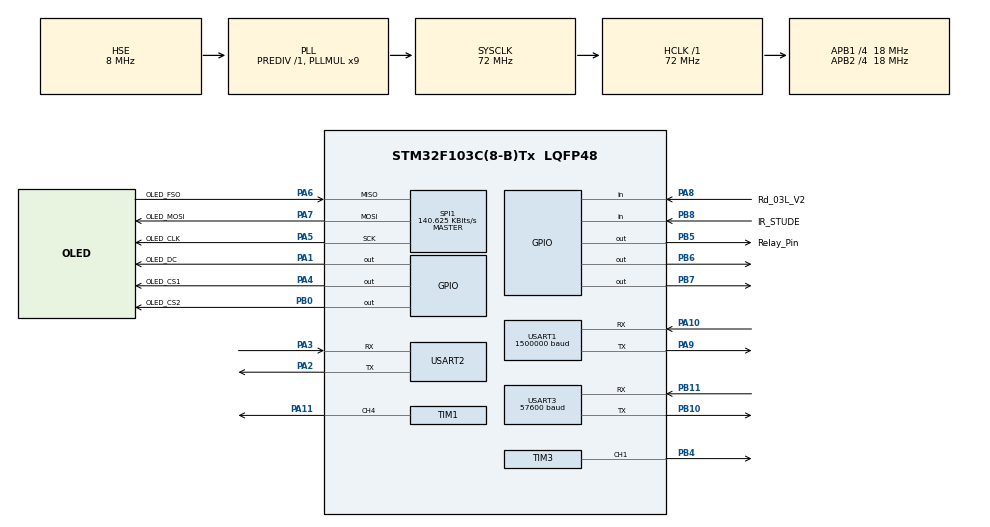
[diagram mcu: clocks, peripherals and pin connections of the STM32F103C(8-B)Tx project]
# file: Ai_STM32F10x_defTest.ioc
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Dma.Request0=TIM3_CH1/TRIG
Dma.Request1=TIM1_CH4/TRIG/COM
Dma.TIM1_CH4/TRIG/COM.1.Direction=DMA_MEMORY_TO_PERIPH
Dma.TIM1_CH4/TRIG/COM.1.Instance=DMA1_Channel4
Dma.TIM1_CH4/TRIG/COM.1.MemDataAlignment=DMA_MDATAALIGN_HALFWORD
Dma.TIM1_CH4/TRIG/COM.1.MemInc=DMA_MINC_ENABLE
Dma.TIM1_CH4/TRIG/COM.1.Mode=DMA_NORMAL
Dma.TIM1_CH4/TRIG/COM.1.PeriphDataAlignment=DMA_PDATAALIGN_HALFWORD
Dma.TIM1_CH4/TRIG/COM.1.PeriphInc=DMA_PINC_DISABLE
Dma.TIM1_CH4/TRIG/COM.1.Priority=DMA_PRIORITY_LOW
Dma.TIM3_CH1/TRIG.0.Direction=DMA_MEMORY_TO_PERIPH
Dma.TIM3_CH1/TRIG.0.Instance=DMA1_Channel6
Dma.TIM3_CH1/TRIG.0.MemDataAlignment=DMA_MDATAALIGN_HALFWORD
Dma.TIM3_CH1/TRIG.0.MemInc=DMA_MINC_ENABLE
Dma.TIM3_CH1/TRIG.0.Mode=DMA_NORMAL
Dma.TIM3_CH1/TRIG.0.PeriphDataAlignment=DMA_PDATAALIGN_HALFWORD
Dma.TIM3_CH1/TRIG.0.PeriphInc=DMA_PINC_DISABLE
Dma.TIM3_CH1/TRIG.0.Priority=DMA_PRIORITY_LOW
FREERTOS.Tasks01=defaultTask,24,256,StartDefaultTask,Default,NULL,Dynamic,NULL,NULL
FREERTOS.configENABLE_FPU=1
FREERTOS.configMAX_CO_ROUTINE_PRIORITIES=4
FREERTOS.configMINIMAL_STACK_SIZE=256
FREERTOS.configTIMER_TASK_PRIORITY=4
FREERTOS.configTOTAL_HEAP_SIZE=4096
FREERTOS.configUSE_CO_ROUTINES=1
Mcu.Family=STM32F1
Mcu.Name=STM32F103C(8-B)Tx
Mcu.Package=LQFP48
NVIC.DMA1_Channel4_IRQn=true\:5\:0\:false\:false\:true\:true\:false\:true\:true
NVIC.DMA1_Channel6_IRQn=true\:5\:0\:false\:false\:true\:true\:false\:true\:true
NVIC.PriorityGroup=NVIC_PRIORITYGROUP_4
NVIC.TIM2_IRQn=true\:15\:0\:false\:false\:true\:false\:false\:true\:true
NVIC.TimeBase=TIM2_IRQn
NVIC.TimeBaseIP=TIM2
NVIC.USART2_IRQn=true\:5\:0\:false\:false\:true\:true\:true\:true\:true
PA1.GPIO_Label=OLED_DC
PA1.GPIO_Speed=GPIO_SPEED_FREQ_MEDIUM
PA1.Signal=GPIO_Output
PA10.Mode=Asynchronous
PA10.Signal=USART1_RX
PA11.GPIO_ModeDefaultPP=GPIO_MODE_AF_OD
PA11.GPIO_Speed=GPIO_SPEED_FREQ_HIGH
PA11.Signal=S_TIM1_CH4
PA13.Mode=Serial_Wire
PA13.Signal=SYS_JTMS-SWDIO
PA14.Mode=Serial_Wire
PA14.Signal=SYS_JTCK-SWCLK
PA2.Mode=Asynchronous
PA2.Signal=USART2_TX
PA3.Mode=Asynchronous
PA3.Signal=USART2_RX
PA4.GPIO_Label=OLED_CS1
PA4.GPIO_ModeDefaultOutputPP=GPIO_MODE_OUTPUT_PP
PA4.GPIO_PuPd=GPIO_PULLUP
PA4.GPIO_Speed=GPIO_SPEED_FREQ_MEDIUM
PA4.PinState=GPIO_PIN_SET
PA4.Signal=GPIO_Output
PA5.GPIO_Label=OLED_CLK
PA5.Mode=Full_Duplex_Master
PA5.Signal=SPI1_SCK
PA6.GPIO_Label=OLED_FSO
PA6.Mode=Full_Duplex_Master
PA6.Signal=SPI1_MISO
PA7.GPIO_Label=OLED_MOSI
PA7.Mode=Full_Duplex_Master
PA7.Signal=SPI1_MOSI
PA8.GPIO_Label=Rd_03L_V2
PA8.GPIO_PuPd=GPIO_NOPULL
PA8.Signal=GPIO_Input
PA9.Mode=Asynchronous
PA9.Signal=USART1_TX
PB0.GPIO_Label=OLED_CS2
PB0.GPIO_PuPd=GPIO_PULLUP
PB0.GPIO_Speed=GPIO_SPEED_FREQ_MEDIUM
PB0.PinState=GPIO_PIN_SET
PB0.Signal=GPIO_Output
PB10.Mode=Asynchronous
PB10.Signal=USART3_TX
PB11.Mode=Asynchronous
PB11.Signal=USART3_RX
PB4.GPIO_ModeDefaultPP=GPIO_MODE_AF_OD
PB4.GPIO_Speed=GPIO_SPEED_FREQ_HIGH
PB4.Signal=S_TIM3_CH1
PB5.GPIO_Label=Relay_Pin
PB5.GPIO_ModeDefaultOutputPP=GPIO_MODE_OUTPUT_PP
PB5.GPIO_PuPd=GPIO_PULLUP
PB5.GPIO_Speed=GPIO_SPEED_FREQ_MEDIUM
PB5.PinState=GPIO_PIN_SET
PB5.Signal=GPIO_Output
PB6.GPIO_ModeDefaultOutputPP=GPIO_MODE_OUTPUT_PP
PB6.GPIO_Speed=GPIO_SPEED_FREQ_HIGH
PB6.PinState=GPIO_PIN_SET
PB6.Signal=GPIO_Output
PB7.GPIO_ModeDefaultOutputPP=GPIO_MODE_OUTPUT_PP
PB7.GPIO_Speed=GPIO_SPEED_FREQ_HIGH
PB7.PinState=GPIO_PIN_RESET
PB7.Signal=GPIO_Output
PB8.GPIO_Label=IR_STUDE
PB8.GPIO_PuPd=GPIO_PULLUP
PB8.Signal=GPIO_Input
PD0-OSC_IN.Mode=HSE-External-Oscillator
PD0-OSC_IN.Signal=RCC_OSC_IN
PD1-OSC_OUT.Mode=HSE-External-Oscillator
PD1-OSC_OUT.Signal=RCC_OSC_OUT
ProjectManager.HeapSize=0x200
ProjectManager.StackSize=0x400
ProjectManager.TargetToolchain=CMake
RCC.AHBFreq_Value=72000000
RCC.APB1CLKDivider=RCC_HCLK_DIV4
RCC.APB1Freq_Value=18000000
RCC.APB1TimFreq_Value=36000000
RCC.APB2CLKDivider=RCC_HCLK_DIV4
RCC.APB2Freq_Value=18000000
RCC.APB2TimFreq_Value=36000000
RCC.HCLKFreq_Value=72000000
RCC.PLLMUL=RCC_PLL_MUL9
RCC.PLLSourceVirtual=RCC_PLLSOURCE_HSE
RCC.SYSCLKFreq_VALUE=72000000
RCC.SYSCLKSource=RCC_SYSCLKSOURCE_PLLCLK
RCC.USBFreq_Value=48000000
RCC.USBPrescaler=RCC_USBCLKSOURCE_PLL_DIV1_5
SH.S_TIM1_CH4.0=TIM1_CH4,PWM Generation4 CH4
SH.S_TIM3_CH1.0=TIM3_CH1,PWM Generation1 CH1
SPI1.BaudRatePrescaler=SPI_BAUDRATEPRESCALER_128
SPI1.CalculateBaudRate=140.625 KBits/s
SPI1.Direction=SPI_DIRECTION_2LINES
SPI1.Mode=SPI_MODE_MASTER
SPI1.VirtualType=VM_MASTER
TIM1.Channel-PWM\ Generation4\ CH4=TIM_CHANNEL_4
TIM1.Period=90-1
TIM3.Channel-PWM\ Generation1\ CH1=TIM_CHANNEL_1
TIM3.Period=90-1
USART1.BaudRate=1500000
USART1.VirtualMode=VM_ASYNC
USART2.VirtualMode=VM_ASYNC
USART3.BaudRate=57600
USART3.VirtualMode=VM_ASYNC
VP_FREERTOS_VS_CMSIS_V2.Mode=CMSIS_V2
VP_SYS_VS_tim2.Mode=TIM2
board=custom

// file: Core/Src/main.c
/* USER CODE BEGIN Header */
/**
 ******************************************************************************
 * @file           : main.c
 * @brief          : Main program body
 ******************************************************************************
 * @attention
 *
 * Copyright (c) 2025 STMicroelectronics.
 * All rights reserved.
 *
 * This software is licensed under terms that can be found in the LICENSE file
 * in the root directory of this software component.
 * If no LICENSE file comes with this software, it is provided AS-IS.
 *
 ******************************************************************************
 */
/* USER CODE END Header */
#include "main.h"
#include "cmsis_os.h"
#include "dma.h"
#include "gpio.h"
#include "spi.h"
#include "tim.h"
#include "usart.h"

/* USER CODE BEGIN Includes */
#include "cJSON.h"
#include "emMCP.h"
#include "log.h"
#include "user_mcp.h"
#include "ws2812.h"
#include <stdint.h>

/* USER CODE END Includes */

/* USER CODE BEGIN PTD */
#define UART_RXBUFF_MAX 256

/* USER CODE END PTD */

void SystemClock_Config(void);
void MX_FREERTOS_Init(void);

int main(void) {

  /* MCU Configuration--------------------------------------------------------*/

  /* Reset of all peripherals, Initializes the Flash interface and the Systick.
   */
  HAL_Init();

  /* Configure the system clock */
  SystemClock_Config();

  /* Initialize all configured peripherals */
  MX_GPIO_Init();
  MX_DMA_Init();
  MX_USART1_UART_Init();
  MX_USART2_UART_Init();
  MX_SPI1_Init();
  MX_USART3_UART_Init();
  MX_TIM1_Init();
  MX_TIM3_Init();
  /* USER CODE BEGIN 2 */

  user_mcp_init(); //
  ws2812_init();
  ws2812_set_pixel(1, 255, 0, 0);
  ws2812_update();
  log_info("system init complete");
  OLED_Init();
  log_info("OLED init OK");
  OLED_ColorTurn(0);
  log_info("OLED color turn OK");
  OLED_DisplayTurn(0);
  log_info("OLED display turn OK");
  OLED_Clear();
  log_info("OLED clear OK");
  // OLED_Display_8x16(0, 0, "Hello,world!");
  OLED_Display_UTF8(0, 3, "你好，世界！");
  // OLED_WR_Byte(0X2E, OLED_CMD);
  // OLED_WR_Byte(0X2A, OLED_CMD);
  // OLED_WR_Byte(0X00, OLED_CMD);
  // OLED_WR_Byte(0X00, OLED_CMD);
  // OLED_WR_Byte(0X07, OLED_CMD);
  // OLED_WR_Byte(0X07, OLED_CMD);
  // OLED_WR_Byte(0X00, OLED_CMD);
  // OLED_WR_Byte(0X2F, OLED_CMD);

  /* USER CODE END 2 */

  /* Init scheduler */
  osKernelInitialize(); /* Call init function for freertos objects (in
                           cmsis_os2.c) */
  MX_FREERTOS_Init();

  /* Start scheduler */
  osKernelStart();

  /* We should never get here as control is now taken by the scheduler */

  /* Infinite loop */
  while (1) {

  }
}

void SystemClock_Config(void) {
  RCC_OscInitTypeDef RCC_OscInitStruct = {0};
  RCC_ClkInitTypeDef RCC_ClkInitStruct = {0};

  /** Initializes the RCC Oscillators according to the specified parameters
   * in the RCC_OscInitTypeDef structure.
   */
  RCC_OscInitStruct.OscillatorType = RCC_OSCILLATORTYPE_HSE;
  RCC_OscInitStruct.HSEState = RCC_HSE_ON;
  RCC_OscInitStruct.HSEPredivValue = RCC_HSE_PREDIV_DIV1;
  RCC_OscInitStruct.HSIState = RCC_HSI_ON;
  RCC_OscInitStruct.PLL.PLLState = RCC_PLL_ON;
  RCC_OscInitStruct.PLL.PLLSource = RCC_PLLSOURCE_HSE;
  RCC_OscInitStruct.PLL.PLLMUL = RCC_PLL_MUL9;
  if (HAL_RCC_OscConfig(&RCC_OscInitStruct) != HAL_OK) {
    Error_Handler();
  }

  /** Initializes the CPU, AHB and APB buses clocks
   */
  RCC_ClkInitStruct.ClockType = RCC_CLOCKTYPE_HCLK | RCC_CLOCKTYPE_SYSCLK |
                                RCC_CLOCKTYPE_PCLK1 | RCC_CLOCKTYPE_PCLK2;
  RCC_ClkInitStruct.SYSCLKSource = RCC_SYSCLKSOURCE_PLLCLK;
  RCC_ClkInitStruct.AHBCLKDivider = RCC_SYSCLK_DIV1;
  RCC_ClkInitStruct.APB1CLKDivider = RCC_HCLK_DIV4;
  RCC_ClkInitStruct.APB2CLKDivider = RCC_HCLK_DIV4;

  if (HAL_RCC_ClockConfig(&RCC_ClkInitStruct, FLASH_LATENCY_2) != HAL_OK) {
    Error_Handler();
  }
}

void HAL_TIM_PeriodElapsedCallback(TIM_HandleTypeDef *htim) {
  if (htim->Instance == TIM2) {
    HAL_IncTick();
  }
}

void Error_Handler(void) {
  /* USER CODE BEGIN Error_Handler_Debug */
  /* User can add his own implementation to report the HAL error return state
   */
  __disable_irq();
  while (1) {
  }
  /* USER CODE END Error_Handler_Debug */
}
#ifdef USE_FULL_ASSERT
/**
 * @brief  Reports the name of the source file and the source line number
 *         where the assert_param error has occurred.
 * @param  file: pointer to the source file name
 * @param  line: assert_param error line source number
 * @retval None
 */
void assert_failed(uint8_t *file, uint32_t line) {
  /* USER CODE BEGIN 6 */
  /* User can add his own implementation to report the file name and line
     number, ex: printf("Wrong parameters value: file %s on line %d\r\n",
     file, line) */
  /* USER CODE END 6 */
}
#endif /* USE_FULL_ASSERT */

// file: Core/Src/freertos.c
/* USER CODE BEGIN Header */
/**
 ******************************************************************************
 * File Name          : freertos.c
 * Description        : Code for freertos applications
 ******************************************************************************
 * @attention
 *
 * Copyright (c) 2025 STMicroelectronics.
 * All rights reserved.
 *
 * This software is licensed under terms that can be found in the LICENSE file
 * in the root directory of this software component.
 * If no LICENSE file comes with this software, it is provided AS-IS.
 *
 ******************************************************************************
 */
/* USER CODE END Header */

#include "FreeRTOS.h"
#include "task.h"
#include "main.h"
#include "cmsis_os.h"

/* USER CODE BEGIN Includes */
#include "bsp_sht30.h"
#include "emMCP.h"
#include "gpio.h"
#include "log.h"
#include <stdint.h>

/* USER CODE END Includes */

/* Definitions for defaultTask */
osThreadId_t defaultTaskHandle;
const osThreadAttr_t defaultTask_attributes = {
  .name = "defaultTask",
  .stack_size = 256 * 4,
  .priority = (osPriority_t) osPriorityNormal,
};

/* USER CODE BEGIN FunctionPrototypes */
osThreadId_t emMCPTaskHandle;
const osThreadAttr_t emMCPTask_attributes = {
    .name = "emMCPTask",
    .stack_size = 256 * 4,
    .priority = (osPriority_t)osPriorityNormal,
};
void emMCPDefaultTask(void *argument);

osThreadId_t sHT3xTaskHandle;
const osThreadAttr_t sHT3xTask_attributes = {
    .name = "sHT3xTask",
    .stack_size = 256 * 4,
    .priority = (osPriority_t)osPriorityNormal,
};

void sHT3xDefaultTask(void *argument);

/* USER CODE END FunctionPrototypes */

void StartDefaultTask(void *argument);

void MX_FREERTOS_Init(void); /* (MISRA C 2004 rule 8.1) */

void MX_FREERTOS_Init(void) {

  /* Create the thread(s) */
  /* creation of defaultTask */
  defaultTaskHandle = osThreadNew(StartDefaultTask, NULL, &defaultTask_attributes);

  /* USER CODE BEGIN RTOS_THREADS */
  /* add threads, ... */
  emMCPTaskHandle = osThreadNew(emMCPDefaultTask, NULL, &emMCPTask_attributes);
  sHT3xTaskHandle = osThreadNew(sHT3xDefaultTask, NULL, &sHT3xTask_attributes);
  /* USER CODE END RTOS_THREADS */

}

void StartDefaultTask(void *argument)
{
  /* USER CODE BEGIN StartDefaultTask */
  /* Infinite loop */
  for (;;) {
    // 读取按键
    if (HAL_GPIO_ReadPin(IR_STUDE_GPIO_Port, IR_STUDE_Pin) == GPIO_PIN_RESET ||
        HAL_GPIO_ReadPin(Rd_03L_V2_GPIO_Port, Rd_03L_V2_Pin)) {
      // 打开继电器
      HAL_GPIO_WritePin(Relay_Pin_GPIO_Port, Relay_Pin_Pin, GPIO_PIN_RESET);
      log_info(HAL_GPIO_ReadPin(Rd_03L_V2_GPIO_Port, Rd_03L_V2_Pin)
                   ? "Rd_03L_V2 Check"
                   : "press IR_STUDE_Pin");
      osDelay(10);
      // 等待松开
      while (HAL_GPIO_ReadPin(IR_STUDE_GPIO_Port, IR_STUDE_Pin) ==
                 GPIO_PIN_RESET ||
             HAL_GPIO_ReadPin(Rd_03L_V2_GPIO_Port, Rd_03L_V2_Pin)) {

        osDelay(10);
      }
    }
    // 关闭继电器
    HAL_GPIO_WritePin(Relay_Pin_GPIO_Port, Relay_Pin_Pin, GPIO_PIN_SET);
    osDelay(10);
  }
  /* USER CODE END StartDefaultTask */
}

/* USER CODE BEGIN Application */
void emMCPDefaultTask(void *argument) {
  /* USER CODE BEGIN StartDefaultTask */
  /* Infinite loop */
  log_info("emMCP Start");

  for (;;) {

    emMCP_TickHandle(10);
  }
}

void sHT3xDefaultTask(void *argument) {
  /* USER CODE BEGIN StartDefaultTask */
  /* Infinite loop */
  SHT30_GPIO_Init();
  log_info("SHT3x Start");
  for (;;) {
    // 每隔1秒读取一次温湿度数据
    SHT30_Read(0x2c06);
    log_info("Temperature: %d ℃, humidity: %d %%", Temperature, Humidity);
    osDelay(1000);
  }
}
/* USER CODE END Application */
